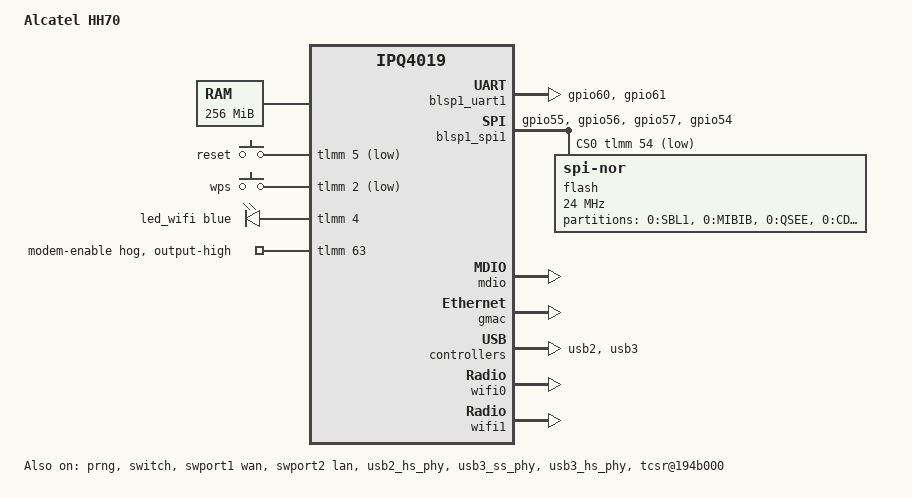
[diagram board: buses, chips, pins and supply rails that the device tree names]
// SPDX-License-Identifier: GPL-2.0-or-later OR MIT

#include "qcom-ipq4019.dtsi"

#include <dt-bindings/gpio/gpio.h>
#include <dt-bindings/input/input.h>
#include <dt-bindings/soc/qcom,tcsr.h>

/ {
	model = "Alcatel HH70";
	compatible = "alcatel,hh70", "qcom,ipq4019";

	memory {
		device_type = "memory";
		reg = <0x80000000 0x10000000>;
	};

	aliases {
		serial0 = &blsp1_uart1;
		ethernet0 = &gmac;
		label-mac-device = &gmac;
		led-boot = &led_wifi;
		led-failsafe = &led_wifi;
		led-running = &led_wifi;
	};

	chosen {
		stdout-path = "serial0:115200n8";
	};

	soc {
		tcsr@1949000 {
			compatible = "qcom,tcsr";
			reg = <0x1949000 0x100>;
			qcom,wifi_glb_cfg = <TCSR_WIFI_GLB_CFG>;
		};

		tcsr@194b000 {
			compatible = "qcom,tcsr";
			reg = <0x194b000 0x100>;
			qcom,usb-hsphy-mode-select = <TCSR_USB_HSPHY_HOST_MODE>;
			status = "okay";
		};

		ess_tcsr@1953000 {
			compatible = "qcom,tcsr";
			reg = <0x1953000 0x1000>;
			qcom,ess-interface-select = <TCSR_ESS_PSGMII>;
		};

		tcsr@1957000 {
			compatible = "qcom,tcsr";
			reg = <0x1957000 0x100>;
			qcom,wifi_noc_memtype_m0_m2 = <TCSR_WIFI_NOC_MEMTYPE_M0_M2>;
		};
	};

	keys {
		compatible = "gpio-keys";
		pinctrl-0 = <&key_pins>;
		pinctrl-names = "default";

		reset {
			label = "reset";
			gpios = <&tlmm 5 GPIO_ACTIVE_LOW>;
			linux,code = <KEY_RESTART>;
			debounce-interval = <60>;
		};

		wps {
			label = "wps";
			gpios = <&tlmm 2 GPIO_ACTIVE_LOW>;
			linux,code = <KEY_WPS_BUTTON>;
			debounce-interval = <15>;
		};
	};

	leds {
		compatible = "gpio-leds";
		pinctrl-0 = <&led_pins>;
		pinctrl-names = "default";

		led_wifi: led-wifi {
			color = <LED_COLOR_ID_BLUE>;
			function = LED_FUNCTION_WLAN;
			gpios = <&tlmm 4 GPIO_ACTIVE_HIGH>;
		};
	};
};

&prng {
	status = "okay";
};

&blsp_dma {
	status = "okay";
};

&tlmm {
	/*
	 * GPIO63 enables the internal MSM9640 modem/USB path.
	 * Stock firmware drives this line high. Hardware testing confirms that
	 * asserting it makes the modem enumerate on USB 3.0 and creates usb0
	 * through rndis_host.
	 */
	modem-enable-hog {
		gpio-hog;
		gpios = <63 GPIO_ACTIVE_HIGH>;
		output-high;
		line-name = "modem-enable";
	};

	/* Stock HH70 console: BLSP UART0 on GPIO60/GPIO61. */
	serial_pins: serial-pinmux {
		mux {
			pins = "gpio60", "gpio61";
			function = "blsp_uart0";
			bias-disable;
		};
	};

	/* Stock HH70 SPI NOR uses the alternate GPIO54-GPIO57 SPI0 group. */
	spi_0_pins: spi-0-pinmux {
		mux {
			function = "blsp_spi0";
			pins = "gpio55", "gpio56", "gpio57";
			drive-strength = <12>;
			bias-disable;
		};

		mux-cs {
			function = "gpio";
			pins = "gpio54";
			drive-strength = <2>;
			bias-disable;
			output-high;
		};
	};

	key_pins: key-pinmux {
		mux {
			pins = "gpio2", "gpio5";
			function = "gpio";
			bias-disable;
		};
	};

	led_pins: led-pinmux {
		mux {
			pins = "gpio0", "gpio4";
			function = "gpio";
			bias-disable;
		};
	};
};

&blsp1_uart1 {
	pinctrl-0 = <&serial_pins>;
	pinctrl-names = "default";
	status = "okay";
};

&blsp1_spi1 {
	pinctrl-0 = <&spi_0_pins>;
	pinctrl-names = "default";
	status = "okay";
	cs-gpios = <&tlmm 54 GPIO_ACTIVE_LOW>;

	flash@0 {
		compatible = "jedec,spi-nor";
		reg = <0>;
		spi-max-frequency = <24000000>;

		partitions {
			compatible = "fixed-partitions";
			#address-cells = <1>;
			#size-cells = <1>;

			partition@0 {
				label = "0:SBL1";
				reg = <0x000000 0x040000>;
				read-only;
			};

			partition@40000 {
				label = "0:MIBIB";
				reg = <0x040000 0x020000>;
				read-only;
			};

			partition@60000 {
				label = "0:QSEE";
				reg = <0x060000 0x060000>;
				read-only;
			};

			partition@c0000 {
				label = "0:CDT";
				reg = <0x0c0000 0x010000>;
				read-only;
			};

			partition@d0000 {
				label = "0:DDRPARAMS";
				reg = <0x0d0000 0x010000>;
				read-only;
			};

			partition@e0000 {
				label = "0:APPSBLENV";
				reg = <0x0e0000 0x010000>;
				read-only;
			};

			partition@f0000 {
				label = "0:APPSBL";
				reg = <0x0f0000 0x080000>;
				read-only;
			};

			art: partition@170000 {
				label = "0:ART";
				reg = <0x170000 0x010000>;
				read-only;

				nvmem-layout {
					compatible = "fixed-layout";
					#address-cells = <1>;
					#size-cells = <1>;

					macaddr_art_0: macaddr@0 {
						reg = <0x0000 0x6>;
					};

					macaddr_art_6: macaddr@6 {
						reg = <0x0006 0x6>;
					};

					precal_art_1000: pre-calibration@1000 {
						reg = <0x1000 0x2f20>;
					};

					precal_art_5000: pre-calibration@5000 {
						reg = <0x5000 0x2f20>;
					};
				};
			};

			partition@180000 {
				label = "0:HLOS";
				reg = <0x180000 0x3e0000>;
			};

			partition@560000 {
				label = "rootfs";
				reg = <0x560000 0x980000>;
			};

			partition@ee0000 {
				label = "0:OEM";
				reg = <0xee0000 0x020000>;
				read-only;
			};

			partition@f00000 {
				label = "0:JRDRESOUCE";
				reg = <0xf00000 0x100000>;
				read-only;
			};
		};
	};
};

&mdio {
	status = "okay";
};

&gmac {
	status = "okay";
	nvmem-cells = <&macaddr_art_0>;
	nvmem-cell-names = "mac-address";
};

&switch {
	status = "okay";
};

&swport1 {
	status = "okay";
	label = "wan";

	nvmem-cells = <&macaddr_art_6>;
	nvmem-cell-names = "mac-address";
};

&swport2 {
	status = "okay";
	label = "lan";
};

&usb2_hs_phy {
	status = "okay";
};

&usb2 {
	status = "okay";
};

&usb3_ss_phy {
	status = "okay";
};

&usb3_hs_phy {
	status = "okay";
};

&usb3 {
	status = "okay";
};

&wifi0 {
	status = "okay";
	nvmem-cells = <&precal_art_1000>;
	nvmem-cell-names = "pre-calibration";
};

&wifi1 {
	status = "okay";
	nvmem-cells = <&precal_art_5000>;
	nvmem-cell-names = "pre-calibration";
};
